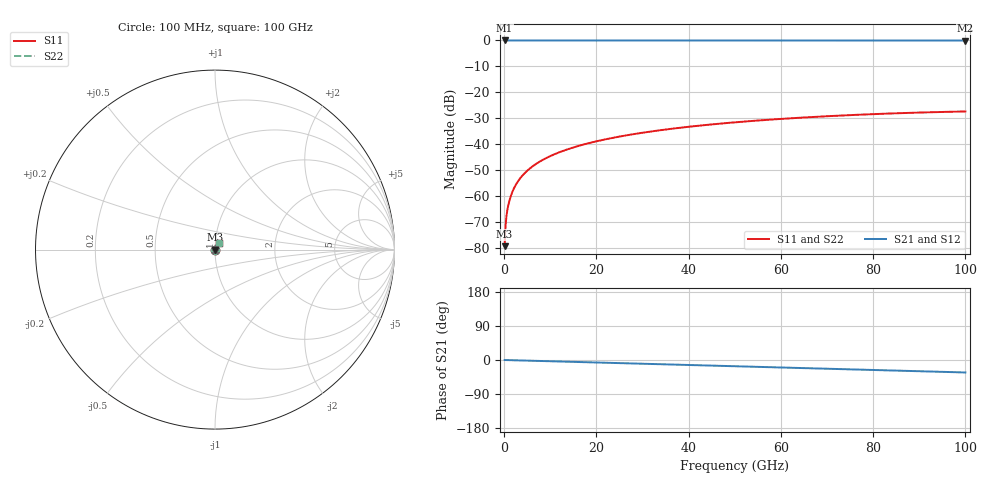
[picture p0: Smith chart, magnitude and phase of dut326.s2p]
! Touchstone file exported from HFSS 2026.1.0
!  File:  C:/ffzhzh/LocalFiles/Ansys_Project_Files/temp_train_TSV_326_1783509590_41296.aedt
!  Generated:  07:21:07 PM Jul  8, 2026
!  Design:  TSV
!  Project:  temp_train_TSV_326_1783509590_41296
! Variables:
!  h_bsmrdl = 2um
!  h_ox = 20um
!  h_rdl = 5um
!  h_sub = 59.31um
!  h_tmrdl = 5um
!  h_tsv = 59.31um
!  h_via = 3um
!  l_bsmrdl = 300um
!  l_sub = 427.28um
!  l_tmrdl = 200um
!  m_sub = 200um
!  pitch = 59.66um
!  r_tsv = 13.64um
!  s_tmrdl = 10um
!  w_bsmrdl = 18um
!  w_sub = 500um
!  w_tmrdl = 12um
!  x_tsv_center1 = 206um
!  x_tsv_center2 = 524um
!  x_tsv_center3 = 736um
!  x_tsv_center4 = 1054um
!  x_tsv_center5 = 1266um
!  x_tsv_center6 = 1584um
# GHz S MA R 50.000000
! Terminal data exported
! Port[1] = TSV1_1_T1
! Port[2] = TSV1_1_T2
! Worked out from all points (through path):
!   1000 points, 100 MHz to 100 GHz, reference 50 ohm
!   highest |S21| = 0.00 dB at 100 MHz (marker M1); lowest = 0.0 dB at 100 GHz (marker M2)
!   group delay of S21, straight-line fit = 913 fs
!   lowest |S11| = -79.2 dB at 100 MHz (marker M3), VSWR 1.00, Z = 50 + j0.00876 ohm
!   |S11| at or under -10 dB: start of sweep to end of sweep
!   |S22| runs from -79.2 to -27.4 dB; largest |S21 - S12| = 2.2e-15
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0.1  0.0001091 53.5  0.9999 -0.0  0.9999 -0.0  0.0001091 53.5
! Gamma 0 0 0 0
! Port Impedance 50 0 50 0
0.3  0.0002667 70.2  0.9999 -0.1  0.9999 -0.1  0.0002667 70.2
0.7  0.0005455 74.0  0.9999 -0.2  0.9999 -0.2  0.0005455 74.0
0.8  0.0006093 74.6  0.9998 -0.3  0.9998 -0.3  0.0006093 74.6
1  0.0007341 75.6  0.9998 -0.3  0.9998 -0.3  0.0007341 75.6
1.3  0.0009186 76.8  0.9998 -0.4  0.9998 -0.4  0.0009186 76.8
1.8  0.001223 78.3  0.9998 -0.6  0.9998 -0.6  0.001223 78.3
2.4  0.001584 79.3  0.9997 -0.8  0.9997 -0.8  0.001584 79.3
3.1  0.001998 80.1  0.9997 -1.0  0.9997 -1.0  0.001998 80.1
3.9  0.002464 80.6  0.9996 -1.3  0.9996 -1.3  0.002464 80.6
4.9  0.00304 81.0  0.9996 -1.6  0.9996 -1.6  0.00304 81.0
6.1  0.003725 81.3  0.9996 -2.0  0.9996 -2.0  0.003725 81.3
8.9  0.005308 81.4  0.9995 -2.9  0.9995 -2.9  0.005308 81.4
12.4  0.007262 80.9  0.9993 -4.1  0.9993 -4.1  0.007262 80.9
16.8  0.009677 80.1  0.9992 -5.5  0.9992 -5.5  0.009677 80.1
24.2  0.01366 78.4  0.999 -7.9  0.999 -7.9  0.01366 78.4
33.4  0.01845 75.9  0.9988 -10.9  0.9988 -10.9  0.01845 75.9
41.2  0.02233 73.6  0.9986 -13.5  0.9986 -13.5  0.02233 73.6
50.1  0.02651 70.9  0.9984 -16.4  0.9984 -16.4  0.02651 70.9
66.7  0.03348 65.7  0.9979 -21.9  0.9979 -21.9  0.03348 65.8
83.4  0.03912 60.4  0.9975 -27.4  0.9975 -27.4  0.03911 60.5
100  0.04287 55.2  0.997 -32.9  0.997 -32.9  0.04287 55.3
